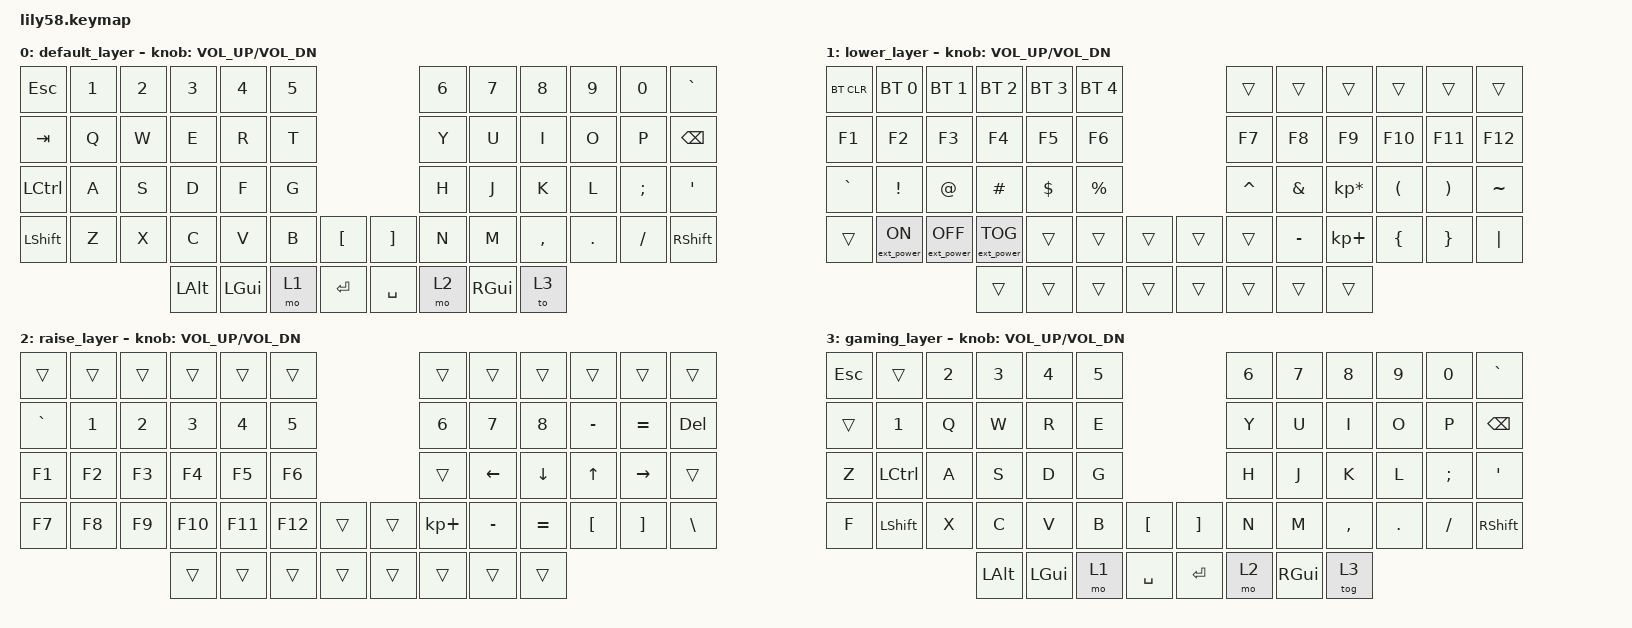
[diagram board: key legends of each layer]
/*
 * Copyright (c) 2020 The ZMK Contributors
 *
 * SPDX-License-Identifier: MIT
 */

#include <behaviors.dtsi>
#include <dt-bindings/zmk/keys.h>
#include <dt-bindings/zmk/bt.h>
#include <dt-bindings/zmk/ext_power.h>

/ {
	keymap {
		compatible = "zmk,keymap";

		default_layer {
// ------------------------------------------------------------------------------------------------------------
// |  ESC  |  1  |  2  |  3   |  4   |  5   |                   |  6   |  7    |  8    |  9   |   0   |   `   |
// |  TAB  |  Q  |  W  |  E   |  R   |  T   |                   |  Y   |  U    |  I    |  O   |   P   |  BSPC |
// |  CTRL |  A  |  S  |  D   |  F   |  G   |                   |  H   |  J    |  K    |  L   |   ;   |   '   |
// | SHIFT |  Z  |  X  |  C   |  V   |  B   |   "["  |  |  "]"  |  N   |  M    |  ,    |  .   |   /   | SHIFT |
//                     | ALT  | GUI  | LOWER|  ENTER |  | SPACE | RAISE| GUI   | GAMING |
			bindings = <
&kp ESC   &kp N1 &kp N2 &kp N3   &kp N4   &kp N5                     &kp N6 &kp N7   &kp N8    &kp N9  &kp N0   &kp GRAVE
&kp TAB   &kp Q  &kp W  &kp E    &kp R    &kp T                      &kp Y  &kp U    &kp I     &kp O   &kp P    &kp BSPC
&kp LCTRL &kp A  &kp S  &kp D    &kp F    &kp G                      &kp H  &kp J    &kp K     &kp L   &kp SEMI &kp SQT
&kp LSHFT &kp Z  &kp X  &kp C    &kp V    &kp B  &kp LBKT   &kp RBKT &kp N  &kp M    &kp COMMA &kp DOT &kp FSLH &kp RSHFT
                        &kp LALT &kp LGUI &mo 1  &kp RET  &kp SPACE  &mo 2  &kp RGUI &to 3
			>;

			sensor-bindings = <&inc_dec_kp C_VOL_UP C_VOL_DN>;
		};

		lower_layer {
// ------------------------------------------------------------------------------------------------------------
// | BTCLR | BT1 | BT2 |  BT3 |  BT4 |  BT5 |                   |      |       |       |      |       |       |
// |  F1   |  F2 |  F3 |  F4  |  F5  |  F6  |                   |  F7  |  F8   |  F9   |  F10 |  F11  |  F12  |
// |   `   |  !  |  @  |  #   |  $   |  %   |                   |  ^   |  &    |  *    |  (   |   )   |   ~   |
// |       |     |     |      |      |      |        |  |       |      |  _    |  +    |  {   |   }   |  "|"  |
//                     |      |      |      |        |  |       |      |       |       |
			bindings = <
&bt BT_CLR &bt BT_SEL 0     &bt BT_SEL 1      &bt BT_SEL 2      &bt BT_SEL 3 &bt BT_SEL 4                 &trans    &trans    &trans          &trans    &trans    &trans
&kp F1     &kp F2           &kp F3            &kp F4            &kp F5       &kp F6                       &kp F7    &kp F8    &kp F9          &kp F10   &kp F11   &kp F12
&kp GRAVE  &kp EXCL         &kp AT            &kp HASH          &kp DOLLAR   &kp PRCNT                    &kp CARET &kp AMPS  &kp KP_MULTIPLY &kp LPAR  &kp RPAR  &kp TILDE
&trans     &ext_power EP_ON &ext_power EP_OFF &ext_power EP_TOG &trans       &trans    &trans   &trans    &trans    &kp MINUS &kp KP_PLUS     &kp LBRC  &kp RBRC  &kp PIPE
                                              &trans            &trans       &trans    &trans   &trans    &trans    &trans    &trans
			>;

			sensor-bindings = <&inc_dec_kp C_VOL_UP C_VOL_DN>;
		};

		raise_layer {
// ------------------------------------------------------------------------------------------------------------
// |       |     |     |      |      |      |                   |      |       |       |      |       |       |
// |   `   |  1  |  2  |  3   |  4   |  5   |                   |  6   |   7   |   8   |  -   |   =   |  DEL  |
// |   F1  |  F2 |  F3 |  F4  |  F5  |  F6  |                   |      |   <-  |   v   |  ^   |  ->   |       |
// |   F7  |  F8 |  F9 |  F10 |  F11 |  F12 |        |  |       |  +   |   -   |   =   |  [   |   ]   |   \   |
//                     |      |      |      |        |  |       |      |       |       |
			bindings = <
&trans    &trans &trans &trans  &trans  &trans                       &trans      &trans    &trans    &trans   &trans    &trans
&kp GRAVE &kp N1 &kp N2 &kp N3  &kp N4  &kp N5                       &kp N6      &kp N7    &kp N8    &kp MINUS   &kp EQUAL    &kp DEL
&kp F1    &kp F2 &kp F3 &kp F4  &kp F5  &kp F6                       &trans      &kp LEFT  &kp DOWN  &kp UP   &kp RIGHT &trans
&kp F7    &kp F8 &kp F9 &kp F10 &kp F11 &kp F12   &trans   &trans    &kp KP_PLUS &kp MINUS &kp EQUAL &kp LBKT &kp RBKT  &kp BSLH
                        &trans  &trans  &trans    &trans   &trans    &trans      &trans    &trans
			>;

			sensor-bindings = <&inc_dec_kp C_VOL_UP C_VOL_DN>;
		};

	gaming_layer {
// ------------------------------------------------------------------------------------------------------------
// |  ESC  |     |  2  |  3   |  4   |  5   |                   |  6   |  7    |  8    |  9   |   0   |   `   |
// |       |  1  |  Q  |  W   |  R   |  E   |                   |  Y   |  U    |  I    |  O   |   P   |  BSPC |
// |  Z    |CTRL |  A  |  S   |  D   |  G   |                   |  H   |  J    |  K    |  L   |   ;   |   '   |
// | F     |SHIFT|  X  |  C   |  V   |  B   |   "["  |  |  "]"  |  N   |  M    |  ,    |  .   |   /   | SHIFT |
//                     | ALT  | GUI  | LOWER|  SPACE |  | ENTER | RAISE| GUI   | TOGGLE_GAMING |
			bindings = <
&kp ESC   &trans &kp N2 &kp N3   &kp N4   &kp N5                     &kp N6 &kp N7   &kp N8    &kp N9  &kp N0   &kp GRAVE
&trans   &kp N1  &kp Q  &kp W    &kp R    &kp E                      &kp Y  &kp U    &kp I     &kp O   &kp P    &kp BSPC
&kp Z &kp LCTRL  &kp A  &kp S    &kp D    &kp G                      &kp H  &kp J    &kp K     &kp L   &kp SEMI &kp SQT
&kp F &kp LSHIFT  &kp X  &kp C    &kp V    &kp B  &kp LBKT   &kp RBKT &kp N  &kp M    &kp COMMA &kp DOT &kp FSLH &kp RSHFT
                        &kp LALT &kp LGUI &mo 1  &kp SPACE  &kp ENTER  &mo 2  &kp RGUI &tog 3
			>;
			sensor-bindings = <&inc_dec_kp C_VOL_UP C_VOL_DN>;
		};
	};
};
